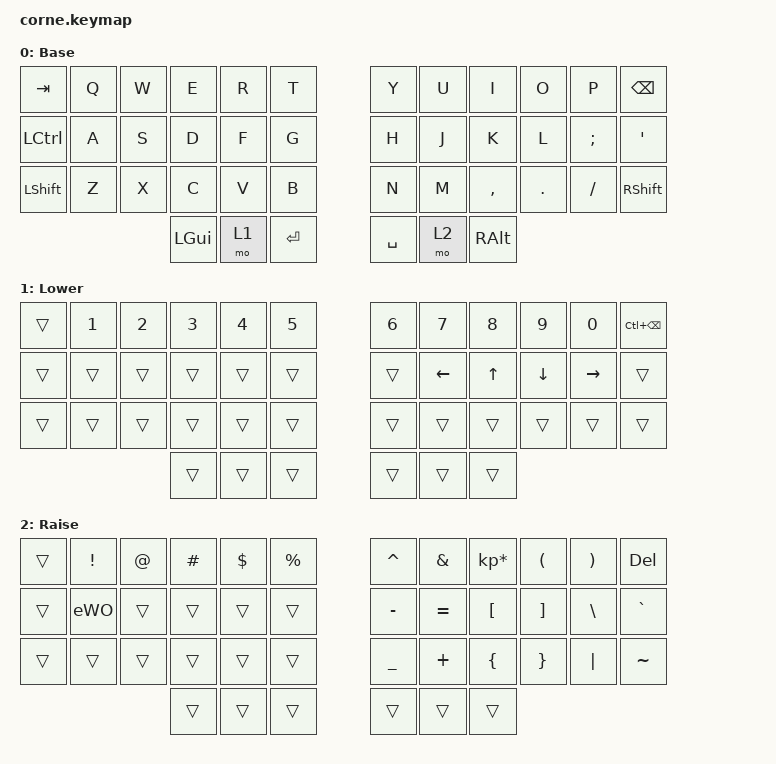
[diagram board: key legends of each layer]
/*
 * Copyright (c) 2020 The ZMK Contributors
 *
 * SPDX-License-Identifier: MIT
 */

#include <behaviors.dtsi>
#include <dt-bindings/zmk/keys.h>

/ {
    macros {
        eWO: eWO {
            compatible = "zmk,behavior-macro";
            #binding-cells = <0>;
            bindings = <&kp E &kp SPACE &kp LC(V) &kp RET>;
            label = "EWO";
        };
    };

    keymap {
        compatible = "zmk,keymap";

        default_layer {
            // -----------------------------------------------------------------------------------------
            // |  TAB |  Q  |  W  |  E  |  R  |  T  |   |  Y  |  U   |  I  |  O  |  P  | BKSP |
            // | CTRL |  A  |  S  |  D  |  F  |  G  |   |  H  |  J   |  K  |  L  |  ;  |  '   |
            // | SHFT |  Z  |  X  |  C  |  V  |  B  |   |  N  |  M   |  ,  |  .  |  /  | ESC  |
            //                    | GUI | LWR | SPC |   | ENT | RSE  | ALT |

            display-name = "Base";
            bindings = <
&kp TAB    &kp Q  &kp W  &kp E     &kp R  &kp T         &kp Y      &kp U  &kp I      &kp O    &kp P     &kp BSPC
&kp LCTRL  &kp A  &kp S  &kp D     &kp F  &kp G         &kp H      &kp J  &kp K      &kp L    &kp SEMI  &kp SQT
&kp LSHFT  &kp Z  &kp X  &kp C     &kp V  &kp B         &kp N      &kp M  &kp COMMA  &kp DOT  &kp FSLH  &kp RIGHT_SHIFT
                         &kp LGUI  &mo 1  &kp RETURN    &kp SPACE  &mo 2  &kp RALT
            >;
        };

        lower_layer {
            // -----------------------------------------------------------------------------------------
            // |  TAB |  1  |  2  |  3  |  4  |  5  |   |  6  |  7  |  8  |  9  |  0  | BKSP |
            // | BTCLR| BT1 | BT2 | BT3 | BT4 | BT5 |   | LFT | DWN |  UP | RGT |     |      |
            // | SHFT |     |     |     |     |     |   |     |     |     |     |     |      |
            //                    | GUI |     | SPC |   | ENT |     | ALT |

            display-name = "Lower";
            bindings = <
&trans  &kp N1  &kp N2  &kp N3  &kp N4  &kp N5    &kp N6  &kp N7          &kp N8        &kp N9          &kp N0     &kp LC(BSPC)
&trans  &trans  &trans  &trans  &trans  &trans    &trans  &kp LEFT_ARROW  &kp UP_ARROW  &kp DOWN_ARROW  &kp RIGHT  &trans
&trans  &trans  &trans  &trans  &trans  &trans    &trans  &trans          &trans        &trans          &trans     &trans
                        &trans  &trans  &trans    &trans  &trans          &trans
            >;
        };

        raise_layer {
            // -----------------------------------------------------------------------------------------
            // |  TAB |  !  |  @  |  #  |  $  |  %  |   |  ^  |  &  |  *  |  (  |  )  | BKSP |
            // | CTRL |     |     |     |     |     |   |  -  |  =  |  [  |  ]  |  \  |  `   |
            // | SHFT |     |     |     |     |     |   |  _  |  +  |  {  |  }  | "|" |  ~   |
            //                    | GUI |     | SPC |   | ENT |     | ALT |

            display-name = "Raise";
            bindings = <
&trans  &kp EXCL  &kp AT  &kp HASH  &kp DLLR  &kp PRCNT    &kp CARET  &kp AMPS   &kp KP_MULTIPLY  &kp LPAR  &kp RPAR  &kp DEL
&trans  &eWO      &trans  &trans    &trans    &trans       &kp MINUS  &kp EQUAL  &kp LBKT         &kp RBKT  &kp BSLH  &kp GRAVE
&trans  &trans    &trans  &trans    &trans    &trans       &kp UNDER  &kp PLUS   &kp LBRC         &kp RBRC  &kp PIPE  &kp TILDE
                          &trans    &trans    &trans       &trans     &trans     &trans
            >;
        };

        extra_1 { status = "reserved"; };

        extra_2 { status = "reserved"; };

        extra_3 { status = "reserved"; };
    };
};
